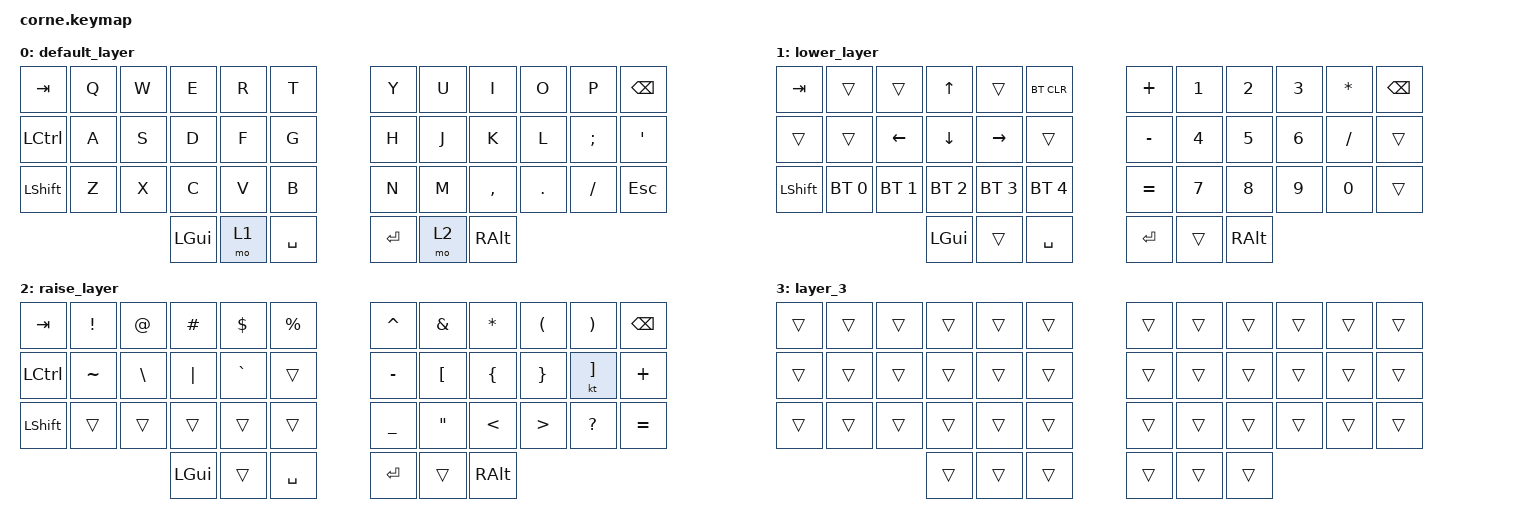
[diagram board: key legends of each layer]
/*
 * Copyright (c) 2020 The ZMK Contributors
 *
 * SPDX-License-Identifier: MIT
 */

#include <behaviors.dtsi>
#include <dt-bindings/zmk/bt.h>
#include <dt-bindings/zmk/keys.h>

/ {
    keymap {
        compatible = "zmk,keymap";

        default_layer {
            // -----------------------------------------------------------------------------------------
            // |  TAB |  Q  |  W  |  E  |  R  |  T  |   |  Y  |  U   |  I  |  O  |  P  | BKSP |
            // | CTRL |  A  |  S  |  D  |  F  |  G  |   |  H  |  J   |  K  |  L  |  ;  |  '   |
            // | SHFT |  Z  |  X  |  C  |  V  |  B  |   |  N  |  M   |  ,  |  .  |  /  | ESC  |
            //                    | GUI | LWR | SPC |   | ENT | RSE  | ALT |

            bindings = <
&kp TAB    &kp Q  &kp W  &kp E     &kp R  &kp T        &kp Y      &kp U  &kp I      &kp O    &kp P     &kp BSPC
&kp LCTRL  &kp A  &kp S  &kp D     &kp F  &kp G        &kp H      &kp J  &kp K      &kp L    &kp SEMI  &kp SQT
&kp LSHFT  &kp Z  &kp X  &kp C     &kp V  &kp B        &kp N      &kp M  &kp COMMA  &kp DOT  &kp FSLH  &kp ESC
                         &kp LGUI  &mo 1  &kp SPACE    &kp ENTER  &mo 2  &kp RALT
            >;
        };

        lower_layer {
            // -----------------------------------------------------------------------------------------
            // |  TAB |  1  |  2  |  3  |  4  |  5  |   |  6  |  7  |  8  |  9  |  0  | BKSP |
            // | BTCLR| BT1 | BT2 | BT3 | BT4 | BT5 |   | LFT | DWN |  UP | RGT |     |      |
            // | SHFT |     |     |     |     |     |   |     |     |     |     |     |      |
            //                    | GUI |     | SPC |   | ENT |     | ALT |

            bindings = <
&kp TAB    &trans        &trans          &kp UP_ARROW  &trans           &bt BT_CLR      &kp PLUS   &kp NUMBER_1  &kp NUMBER_2  &kp NUMBER_3  &kp ASTRK  &kp BSPC
&trans     &trans        &kp LEFT_ARROW  &kp DOWN      &kp RIGHT_ARROW  &trans          &kp MINUS  &kp NUMBER_4  &kp N5        &kp NUMBER_6  &kp SLASH  &trans
&kp LSHFT  &bt BT_SEL 0  &bt BT_SEL 1    &bt BT_SEL 2  &bt BT_SEL 3     &bt BT_SEL 4    &kp EQUAL  &kp N7        &kp N8        &kp N9        &kp N0     &trans
                                         &kp LGUI      &trans           &kp SPACE       &kp RET    &trans        &kp RALT
            >;
        };

        raise_layer {
            // -----------------------------------------------------------------------------------------
            // |  TAB |  !  |  @  |  #  |  $  |  %  |   |  ^  |  &  |  *  |  (  |  )  | BKSP |
            // | CTRL |     |     |     |     |     |   |  -  |  =  |  [  |  ]  |  \  |  `   |
            // | SHFT |     |     |     |     |     |   |  _  |  +  |  {  |  }  | "|" |  ~   |
            //                    | GUI |     | SPC |   | ENT |     | ALT |

            bindings = <
&kp TAB    &kp EXCL   &kp AT    &kp HASH  &kp DLLR   &kp PRCNT    &kp CARET  &kp AMPS           &kp ASTRK       &kp LPAR          &kp RPAR           &kp BSPC
&kp LCTRL  &kp TILDE  &kp BSLH  &kp PIPE  &kp GRAVE  &trans       &kp MINUS  &kp LEFT_BRACKET   &kp LEFT_BRACE  &kp RIGHT_BRACE   &kt RIGHT_BRACKET  &kp PLUS
&kp LSHFT  &trans     &trans    &trans    &trans     &trans       &kp UNDER  &kp DOUBLE_QUOTES  &kp LESS_THAN   &kp GREATER_THAN  &kp QUESTION       &kp EQUAL
                                &kp LGUI  &trans     &kp SPACE    &kp RET    &trans             &kp RALT
            >;
        };

        layer_3 {
            bindings = <
&trans  &trans  &trans  &trans  &trans  &trans    &trans  &trans  &trans  &trans  &trans  &trans
&trans  &trans  &trans  &trans  &trans  &trans    &trans  &trans  &trans  &trans  &trans  &trans
&trans  &trans  &trans  &trans  &trans  &trans    &trans  &trans  &trans  &trans  &trans  &trans
                        &trans  &trans  &trans    &trans  &trans  &trans
            >;
        };
    };
};
